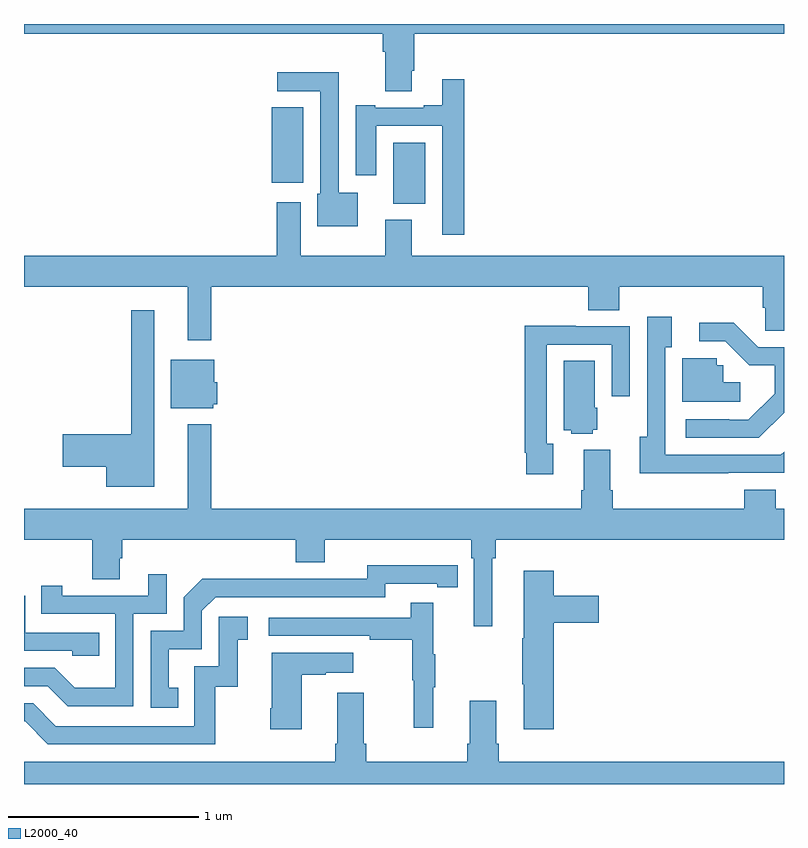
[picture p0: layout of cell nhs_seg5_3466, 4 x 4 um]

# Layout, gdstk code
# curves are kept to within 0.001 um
import gdstk
lib = gdstk.Library(unit=1e-6, precision=1e-09)
def R(c, l, rs):  # rectangles x0, y0, x1, y1
    for r in rs: c.add(gdstk.rectangle(r[:2], r[2:], *l))
def P(c, l, *ps):  # polygons
    for p in ps: c.add(gdstk.Polygon(p, *l))
L2000_40 = (2000, 40)

nhs_seg5_3466 = lib.new_cell('nhs_seg5_3466')
R(nhs_seg5_3466, L2000_40, [(316.943,867.854,317.113,868.174), (316.304,867.963,316.471,868.361)])
P(nhs_seg5_3466, L2000_40, [(317.041,868.552),(317.054,868.552),(317.054,868.748),(319,868.748),(319,868.799),(315,868.799),(315,868.748),(316.889,868.748),(316.889,868.652),(316.901,868.652),(316.901,868.444),(317.041,868.444)],
  [(316.756,867.91),(316.656,867.91),(316.656,868.544),(316.332,868.544),(316.332,868.446),(316.56,868.446),(316.56,867.906),(316.544,867.906),(316.544,867.734),(316.756,867.734)],
  [(317.318,868.507),(317.201,868.507),(317.201,868.372),(317.105,868.372),(317.105,868.359),(316.849,868.359),(316.849,868.372),(316.745,868.372),(316.745,868.002),(316.855,868.002),(316.855,868.263),(317.202,868.263),(317.202,867.69),(317.318,867.69)],
  [(317.041,867.769),(316.901,867.769),(316.901,867.58),(316.456,867.58),(316.456,867.862),(316.331,867.862),(316.331,867.58),(315,867.58),(315,867.416),(315.863,867.416),(315.863,867.135),(315.985,867.135),(315.985,867.416),(317.969,867.416),(317.969,867.292),(318.134,867.292),(318.134,867.416),(318.887,867.416),(318.887,867.306),(318.901,867.306),(318.901,867.184),(319,867.184),(319,867.58),(317.041,867.58)],
  [(315.685,867.292),(315.564,867.292),(315.564,866.639),(315.204,866.639),(315.204,866.468),(315.434,866.468),(315.434,866.363),(315.685,866.363)],
  [(318.707,866.436),(319,866.436),(319,866.548),(318.984,866.532),(318.375,866.532),(318.375,867.098),(318.409,867.098),(318.409,867.259),(318.279,867.259),(318.279,866.626),(318.242,866.626),(318.242,866.435)],
  [(319,866.754),(319,867.099),(318.864,867.099),(318.736,867.227),(318.555,867.227),(318.555,867.129),(318.69,867.129),(318.817,867.002),(318.95,867.002),(318.95,866.852),(318.813,866.715),(318.713,866.715),(318.713,866.718),(318.483,866.718),(318.483,866.622),(318.868,866.622)],
  [(317.785,866.591),(317.751,866.591),(317.751,867.111),(318.093,867.111),(318.093,866.841),(318.189,866.841),(318.189,867.207),(317.905,867.207),(317.905,867.211),(317.635,867.211),(317.635,866.542),(317.643,866.542),(317.643,866.43),(317.785,866.43)],
  [(318.769,866.914),(318.681,866.914),(318.681,867.003),(318.645,867.003),(318.645,867.039),(318.464,867.039),(318.464,866.811),(318.769,866.811)],
  [(315.996,866.799),(316.018,866.799),(316.018,866.913),(316,866.913),(316,867.031),(315.773,867.031),(315.773,866.777),(315.996,866.777)],
  [(317.994,866.664),(318.016,866.664),(318.016,866.778),(318.004,866.778),(318.004,867.026),(317.84,867.026),(317.84,866.66),(317.88,866.66),(317.88,866.642),(317.994,866.642)],
  [(317.464,865.988),(317.483,865.988),(317.483,866.084),(319,866.084),(319,866.248),(318.956,866.248),(318.956,866.347),(318.791,866.347),(318.791,866.248),(318.098,866.248),(318.098,866.344),(318.085,866.344),(318.085,866.557),(317.945,866.557),(317.945,866.344),(317.933,866.344),(317.933,866.248),(315.985,866.248),(315.985,866.692),(315.863,866.692),(315.863,866.248),(315,866.248),(315,866.084),(315.358,866.084),(315.358,865.876),(315.505,865.876),(315.505,865.986),(315.518,865.986),(315.518,866.084),(316.43,866.084),(316.43,865.967),(316.582,865.967),(316.582,866.084),(317.354,866.084),(317.354,865.988),(317.367,865.988),(317.367,865.629),(317.464,865.629)],
  [(315.812,865.305),(315.763,865.305),(315.763,865.509),(315.936,865.509),(315.936,865.71),(316.008,865.782),(316.902,865.782),(316.902,865.854),(317.174,865.854),(317.174,865.834),(317.282,865.834),(317.282,865.95),(316.806,865.951),(316.806,865.878),(316.346,865.878),(316.346,865.88),(315.938,865.88),(315.84,865.782),(315.84,865.605),(315.666,865.605),(315.666,865.2),(315.812,865.2)],
  [(317.789,865.649),(318.025,865.649),(318.025,865.791),(317.789,865.791),(317.789,865.921),(317.63,865.921),(317.63,865.565),(317.623,865.565),(317.623,865.324),(317.63,865.324),(317.63,865.086),(317.789,865.086)],
  [(315.576,865.695),(315.75,865.695),(315.75,865.903),(315.653,865.903),(315.653,865.791),(315.202,865.791),(315.202,865.843),(315.091,865.843),(315.091,865.695),(315.48,865.695),(315.48,865.306),(315.266,865.306),(315.162,865.41),(315,865.41),(315,865.314),(315.125,865.314),(315.23,865.209),(315.576,865.209)],
  [(315.395,865.596),(315.006,865.596),(315.006,865.791),(315,865.791),(315,865.5),(315.255,865.5),(315.255,865.473),(315.395,865.473)],
  [(317.153,865.307),(317.164,865.307),(317.164,865.481),(317.153,865.481),(317.153,865.753),(317.035,865.753),(317.035,865.674),(316.287,865.674),(316.287,865.578),(316.819,865.578),(316.819,865.558),(317.043,865.558),(317.043,865.344),(317.05,865.344),(317.05,865.095),(317.153,865.095)],
  [(316.006,865.311),(316.124,865.311),(316.124,865.557),(316.177,865.557),(316.177,865.678),(316.026,865.678),(316.026,865.419),(315.897,865.419),(315.897,865.104),(315.168,865.104),(315.048,865.224),(315,865.224),(315,865.128),(315.006,865.128),(315.126,865.008),(316.006,865.008)],
  [(316.462,865.375),(316.589,865.375),(316.589,865.385),(316.732,865.385),(316.732,865.489),(316.304,865.489),(316.304,865.198),(316.297,865.198),(316.297,865.086),(316.462,865.086)],
  [(319,864.916),(317.498,864.916),(317.498,865.012),(317.485,865.012),(317.485,865.237),(317.345,865.237),(317.345,865.012),(317.333,865.012),(317.333,864.916),(316.802,864.916),(316.802,865.012),(316.789,865.012),(316.789,865.279),(316.649,865.279),(316.649,865.012),(316.637,865.012),(316.637,864.916),(315,864.916),(315,864.799),(319,864.799)])

lib.write_gds('nhs_seg5_3466.gds')
